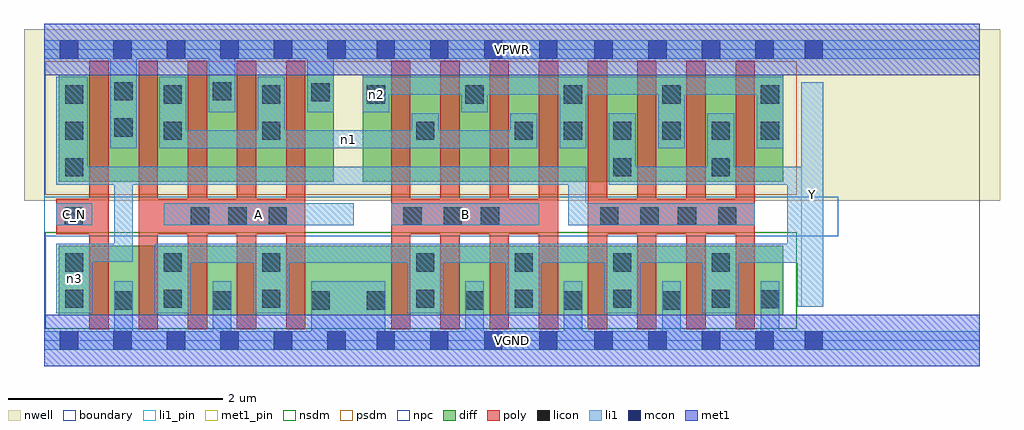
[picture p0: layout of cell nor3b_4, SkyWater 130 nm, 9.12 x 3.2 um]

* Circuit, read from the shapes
.subckt nor3b_4 A B C_N VGND VPWR Y n1 n2 n3
XM1 VGND C_N n3 VSUBS sky130_fd_pr__nfet_01v8 w=0.65 l=0.18
XM2 Y A VGND VSUBS sky130_fd_pr__nfet_01v8 w=0.65 l=0.18 m=4
XM3 Y B VGND VSUBS sky130_fd_pr__nfet_01v8 w=0.65 l=0.18 m=4
XM4 Y n3 VGND VSUBS sky130_fd_pr__nfet_01v8 w=0.65 l=0.18 m=4
XM5 VPWR C_N n3 n4 sky130_fd_pr__pfet_01v8 w=1 l=0.18
XM6 n1 A VPWR n4 sky130_fd_pr__pfet_01v8 w=1 l=0.18 m=4
XM7 n1 B n2 n4 sky130_fd_pr__pfet_01v8 w=1 l=0.18 m=4
XM8 Y n3 n2 n4 sky130_fd_pr__pfet_01v8 w=1 l=0.18 m=4
.ends

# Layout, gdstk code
import gdstk
lib = gdstk.Library(unit=1e-6, precision=1e-09)
def R(c, l, rs):  # rectangles x0, y0, x1, y1
    for r in rs: c.add(gdstk.rectangle(r[:2], r[2:], *l))
def A(c, l, x, y, w, h, nx, ny, dx, dy):  # array of equal rectangles
    R(c, l, [(x+i*dx, y+j*dy, x+i*dx+w, y+j*dy+h) for i in range(nx) for j in range(ny)])
nwell = (64, 20)
diff = (65, 20)
poly = (66, 20)
licon = (66, 44)
li1_pin = (67, 16)
li1 = (67, 20)
mcon = (67, 44)
met1_pin = (68, 16)
met1 = (68, 20)
nsdm = (93, 44)
psdm = (94, 20)
npc = (95, 20)
boundary = (235, 4)

nor3b_4 = lib.new_cell('nor3b_4')
R(nor3b_4, nwell, [(-0.19,1.305,8.93,2.91), (0,1.305,8.74,2.91)])
R(nor3b_4, diff, [(0.135,0.235,6.905,0.885), (0.135,1.485,2.705,2.485), (2.975,1.485,6.905,2.485)])
A(nor3b_4, poly, 0.42, 0.105, 0.18, 2.51, 5, 1, 0.46, 0)
A(nor3b_4, poly, 3.24, 0.105, 0.18, 2.51, 8, 1, 0.46, 0)
R(nor3b_4, poly, [(0.11,0.995,0.6,1.325), (0.88,0.995,2.44,1.325), (3.24,0.995,4.8,1.325), (5.08,0.995,6.64,1.325)])
A(nor3b_4, licon, 0.655, 0.29, 0.17, 0.17, 3, 1, 0.92, 0)
A(nor3b_4, licon, 3.015, 0.29, 0.17, 0.17, 4, 1, 0.92, 0)
A(nor3b_4, licon, 0.195, 0.305, 0.17, 0.17, 3, 2, 0.92, 0.34)
A(nor3b_4, licon, 3.475, 0.305, 0.17, 0.17, 4, 2, 0.92, 0.34)
A(nor3b_4, licon, 0.195, 1.875, 0.17, 0.17, 3, 2, 0.92, 0.34)
A(nor3b_4, licon, 4.395, 1.875, 0.17, 0.17, 6, 1, 0.46, 0)
A(nor3b_4, licon, 3.015, 2.215, 0.17, 0.17, 5, 1, 0.92, 0)
R(nor3b_4, licon, [(6.695,0.3,6.865,0.47), (0.19,1.075,0.36,1.245), (1.37,1.075,1.54,1.245), (1.72,1.075,1.89,1.245), (2.095,1.075,2.265,1.245), (3.355,1.075,3.525,1.245), (3.73,1.075,3.9,1.245), (4.08,1.075,4.25,1.245), (5.195,1.075,5.365,1.245), (5.57,1.075,5.74,1.245), (5.92,1.075,6.09,1.245), (6.295,1.075,6.465,1.245), (0.195,1.535,0.365,1.705), (5.315,1.535,5.485,1.705), (6.235,1.535,6.405,1.705), (3.475,1.875,3.645,2.045), (0.655,1.905,0.825,2.075), (2.495,2.235,2.665,2.405), (0.655,2.245,0.825,2.415), (1.575,2.245,1.745,2.415)])
R(nor3b_4, li1_pin, [(7.075,0.315,7.28,2.415), (0.11,1.075,0.45,1.285), (1.115,1.075,2.89,1.285), (3.24,1.075,4.625,1.285)])
A(nor3b_4, li1, 3.935, -0.085, 0.17, 0.64, 4, 1, 0.92, 0)
A(nor3b_4, li1, 0.11, 0.255, 0.34, 0.65, 3, 1, 0.92, 0)
A(nor3b_4, li1, 3.39, 0.255, 0.34, 0.65, 4, 1, 0.92, 0)
A(nor3b_4, li1, 4.815, 1.795, 0.25, 0.67, 3, 1, 0.92, 0)
R(nor3b_4, li1, [(0,-0.085,8.74,0.085), (0.655,-0.085,0.825,0.555), (1.575,-0.085,1.745,0.555), (2.495,-0.085,3.185,0.555), (7.035,0.315,7.28,1.625), (7.075,0.315,7.28,2.415), (1.03,0.725,7.28,0.905), (6.94,0.725,7.28,1.625), (0.11,0.735,0.825,0.905), (0.655,0.735,0.825,1.625), (0.11,1.075,0.45,1.285), (1.115,1.075,2.89,1.285), (3.24,1.075,4.625,1.285), (4.895,1.075,6.64,1.285), (4.895,1.075,5.065,1.625), (0.11,1.455,5.065,1.625), (0.11,1.455,0.405,2.465), (5.275,1.455,7.28,1.625), (5.275,1.455,5.525,2.125), (6.195,1.455,6.445,2.125), (0.615,1.795,0.865,2.805), (1.075,1.795,1.325,2.465), (1.075,1.795,4.605,1.965), (1.995,1.795,2.245,2.465), (3.435,1.795,3.685,2.125), (4.355,1.795,4.605,2.125), (1.535,2.135,1.785,2.805), (2.455,2.135,2.705,2.805), (2.975,2.135,3.225,2.465), (3.895,2.135,4.145,2.465), (2.975,2.295,6.905,2.465), (0,2.635,8.74,2.805)])
A(nor3b_4, mcon, 0.145, -0.085, 0.17, 0.17, 6, 2, 0.5, 2.72)
A(nor3b_4, mcon, 4.11, -0.085, 0.17, 0.17, 3, 2, 0.515, 2.72)
A(nor3b_4, mcon, 5.645, -0.085, 0.17, 0.17, 3, 2, 0.5, 2.72)
R(nor3b_4, mcon, [(3.105,-0.085,3.275,0.085), (3.605,-0.085,3.775,0.085), (7.105,-0.085,7.275,0.085), (3.105,2.635,3.275,2.805), (3.605,2.635,3.775,2.805), (7.105,2.635,7.275,2.805)])
R(nor3b_4, met1_pin, [(0,-0.24,8.74,0.24), (0,2.48,8.74,2.96)])
R(nor3b_4, met1, [(0,-0.24,8.74,0.24), (0,2.48,8.74,2.96)])
R(nor3b_4, nsdm, [(0.01,0.11,7.03,1.01)])
R(nor3b_4, psdm, [(0.01,1.36,7.03,2.61)])
R(nor3b_4, npc, [(0,0.975,7.42,1.345)])
R(nor3b_4, boundary, [(0,0,8.74,2.72)])
nor3b_4.add(gdstk.Label('A', (2.002,1.18), layer=67, texttype=5))
nor3b_4.add(gdstk.Label('B', (3.932,1.18), layer=67, texttype=5))
nor3b_4.add(gdstk.Label('C_N', (0.28,1.18), layer=67, texttype=5))
nor3b_4.add(gdstk.Label('Y', (7.177,1.365), layer=67, texttype=5))
nor3b_4.add(gdstk.Label('n3', (0.28,0.58), layer=67, texttype=5))
nor3b_4.add(gdstk.Label('n1', (2.84,1.88), layer=67, texttype=5))
nor3b_4.add(gdstk.Label('n2', (3.1,2.3), layer=67, texttype=5))
nor3b_4.add(gdstk.Label('VPWR', (4.37,2.72), layer=68, texttype=5))
nor3b_4.add(gdstk.Label('VGND', (4.37,0), layer=68, texttype=5))
nor3b_4.add(gdstk.Label('A', (2.002,1.18), layer=67, texttype=16))
nor3b_4.add(gdstk.Label('B', (3.932,1.18), layer=67, texttype=16))
nor3b_4.add(gdstk.Label('C_N', (0.28,1.18), layer=67, texttype=16))
nor3b_4.add(gdstk.Label('Y', (7.177,1.365), layer=67, texttype=16))
nor3b_4.add(gdstk.Label('VPWR', (4.37,2.72), layer=68, texttype=16))
nor3b_4.add(gdstk.Label('VGND', (4.37,0), layer=68, texttype=16))

lib.write_gds('nor3b_4.gds')
